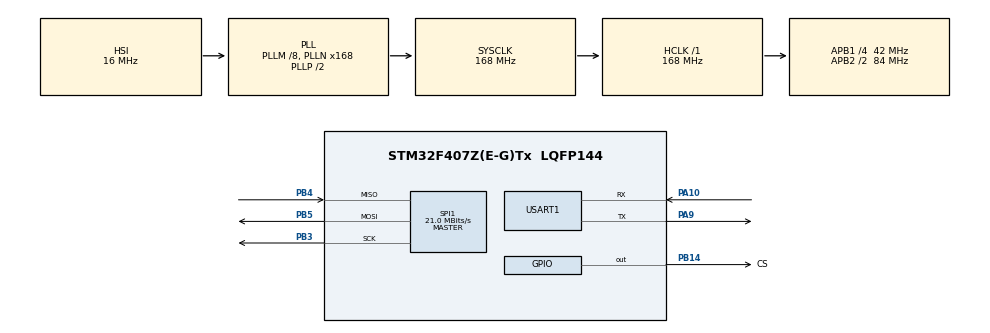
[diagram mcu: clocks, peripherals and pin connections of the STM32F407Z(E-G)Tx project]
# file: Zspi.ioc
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Mcu.Family=STM32F4
Mcu.Name=STM32F407Z(E-G)Tx
Mcu.Package=LQFP144
NVIC.PriorityGroup=NVIC_PRIORITYGROUP_4
PA10.Mode=Asynchronous
PA10.Signal=USART1_RX
PA13.Mode=Serial_Wire
PA13.Signal=SYS_JTMS-SWDIO
PA14.Mode=Serial_Wire
PA14.Signal=SYS_JTCK-SWCLK
PA9.Mode=Asynchronous
PA9.Signal=USART1_TX
PB14.GPIO_Label=CS
PB14.GPIO_PuPd=GPIO_PULLUP
PB14.GPIO_Speed=GPIO_SPEED_FREQ_VERY_HIGH
PB14.PinState=GPIO_PIN_SET
PB14.Signal=GPIO_Output
PB3.Mode=Full_Duplex_Master
PB3.Signal=SPI1_SCK
PB4.Mode=Full_Duplex_Master
PB4.Signal=SPI1_MISO
PB5.Mode=Full_Duplex_Master
PB5.Signal=SPI1_MOSI
ProjectManager.HeapSize=0x200
ProjectManager.StackSize=0x400
ProjectManager.TargetToolchain=MDK-ARM V5.27
RCC.48MHZClocksFreq_Value=84000000
RCC.AHBFreq_Value=168000000
RCC.APB1CLKDivider=RCC_HCLK_DIV4
RCC.APB1Freq_Value=42000000
RCC.APB1TimFreq_Value=84000000
RCC.APB2CLKDivider=RCC_HCLK_DIV2
RCC.APB2Freq_Value=84000000
RCC.APB2TimFreq_Value=168000000
RCC.CortexFreq_Value=168000000
RCC.HCLKFreq_Value=168000000
RCC.HSE_VALUE=25000000
RCC.HSI_VALUE=16000000
RCC.LSE_VALUE=32768
RCC.PLLM=8
RCC.PLLN=168
RCC.SYSCLKFreq_VALUE=168000000
RCC.SYSCLKSource=RCC_SYSCLKSOURCE_PLLCLK
RCC.VCOOutputFreq_Value=336000000
SPI1.BaudRatePrescaler=SPI_BAUDRATEPRESCALER_4
SPI1.CLKPhase=SPI_PHASE_2EDGE
SPI1.CLKPolarity=SPI_POLARITY_HIGH
SPI1.CalculateBaudRate=21.0 MBits/s
SPI1.Direction=SPI_DIRECTION_2LINES
SPI1.Mode=SPI_MODE_MASTER
SPI1.VirtualType=VM_MASTER
USART1.VirtualMode=VM_ASYNC
board=custom

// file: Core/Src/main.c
/* USER CODE BEGIN Header */
/**
  ******************************************************************************
  * @file           : main.c
  * @brief          : Main program body
  ******************************************************************************
  * @attention
  *
  * <h2><center>&copy; Copyright (c) 2021 STMicroelectronics.
  * All rights reserved.</center></h2>
  *
  * This software component is licensed by ST under BSD 3-Clause license,
  * the "License"; You may not use this file except in compliance with the
  * License. You may obtain a copy of the License at:
  *                        opensource.org/licenses/BSD-3-Clause
  *
  ******************************************************************************
  */
/* USER CODE END Header */
#include "main.h"
#include "spi.h"
#include "usart.h"
#include "gpio.h"

/* USER CODE BEGIN PV */
unsigned char data[128] = {0};
/* USER CODE END PV */

void SystemClock_Config(void);

int main(void)
{

  /* MCU Configuration--------------------------------------------------------*/

  /* Reset of all peripherals, Initializes the Flash interface and the Systick. */
  HAL_Init();

  /* Configure the system clock */
  SystemClock_Config();

  /* Initialize all configured peripherals */
  MX_GPIO_Init();
  MX_SPI1_Init();
  MX_USART1_UART_Init();
  /* USER CODE BEGIN 2 */
	data[0] = 0xff;
	HAL_SPI_Transmit(&hspi1,data,1,0xffff);

  /* USER CODE END 2 */

  /* Infinite loop */
  /* USER CODE BEGIN WHILE */

	/*读设备ID*/
	HAL_GPIO_WritePin(CS_GPIO_Port,CS_Pin,GPIO_PIN_RESET);
	data[0] = 0x90;
	data[1] = 0x00;
	data[2] = 0x00;
	data[3] = 0x00;
	HAL_SPI_Transmit(&hspi1,data,4,0xffff);
	HAL_SPI_Receive(&hspi1,data,2,0xffff);
	HAL_GPIO_WritePin(CS_GPIO_Port,CS_Pin,GPIO_PIN_SET);
	HAL_UART_Transmit(&huart1,data,2,0xffff);
	HAL_Delay(1000);

	/*读数据*/
	HAL_GPIO_WritePin(CS_GPIO_Port,CS_Pin,GPIO_PIN_RESET);
	data[0] = 0x03;
	data[1] = 0x00;
	data[2] = 0x00;
	data[3] = 0x00;
	HAL_SPI_Transmit(&hspi1,data,4,0xffff);

	HAL_SPI_Receive(&hspi1,data,10,0xffff);
	HAL_GPIO_WritePin(CS_GPIO_Port,CS_Pin,GPIO_PIN_SET);
	HAL_UART_Transmit(&huart1,data,10,0xffff);
	HAL_Delay(1000);

	/*使能写*/
	HAL_GPIO_WritePin(CS_GPIO_Port,CS_Pin,GPIO_PIN_RESET);
	data[0] = 0x06;
	HAL_SPI_Transmit(&hspi1,data,1,0xffff);

	HAL_GPIO_WritePin(CS_GPIO_Port,CS_Pin,GPIO_PIN_SET);
	HAL_Delay(1000);

	while(1)
	{
		/*读状态寄存器*/
		HAL_GPIO_WritePin(CS_GPIO_Port,CS_Pin,GPIO_PIN_RESET);
		data[0] = 0x05;
		HAL_SPI_Transmit(&hspi1,data,1,0xffff);

		HAL_SPI_Receive(&hspi1,data,1,0xffff);
		HAL_GPIO_WritePin(CS_GPIO_Port,CS_Pin,GPIO_PIN_SET);

		HAL_UART_Transmit(&huart1,"11111\r\n",sizeof("11111\r\n"),0xffff);
		if((data[0]&0x01) != 0x01)
		{
			HAL_UART_Transmit(&huart1,"00000\r\n",sizeof("11111\r\n"),0xffff);
			break;
		}
		HAL_Delay(100);
	}

	/*擦除数据*/
	HAL_GPIO_WritePin(CS_GPIO_Port,CS_Pin,GPIO_PIN_RESET);
	data[0] = 0x20;
	data[1] = 0x00;
	data[2] = 0x00;
	data[3] = 0x00;
	HAL_SPI_Transmit(&hspi1,data,4,0xffff);

	HAL_GPIO_WritePin(CS_GPIO_Port,CS_Pin,GPIO_PIN_SET);
	HAL_Delay(1000);

	/*使能写*/
	HAL_GPIO_WritePin(CS_GPIO_Port,CS_Pin,GPIO_PIN_RESET);
	data[0] = 0x06;
	HAL_SPI_Transmit(&hspi1,data,1,0xffff);

	HAL_GPIO_WritePin(CS_GPIO_Port,CS_Pin,GPIO_PIN_SET);
	HAL_Delay(1000);

	/*写入数据*/
	HAL_GPIO_WritePin(CS_GPIO_Port,CS_Pin,GPIO_PIN_RESET);
	data[0] = 0x02;
	data[1] = 0x00;
	data[2] = 0x00;
	data[3] = 0x00;
	HAL_SPI_Transmit(&hspi1,data,4,0xffff);

	data[0] = 0x12;
	data[1] = 0x34;
	data[2] = 0x56;
	data[3] = 0x78;
	data[4] = 0x9a;
	HAL_SPI_Transmit(&hspi1,data,5,0xffff);

	HAL_GPIO_WritePin(CS_GPIO_Port,CS_Pin,GPIO_PIN_SET);
	HAL_Delay(1000);

	/*读数据*/
	HAL_GPIO_WritePin(CS_GPIO_Port,CS_Pin,GPIO_PIN_RESET);
	data[0] = 0x03;
	data[1] = 0x00;
	data[2] = 0x00;
	data[3] = 0x00;
	HAL_SPI_Transmit(&hspi1,data,4,0xffff);

	HAL_SPI_Receive(&hspi1,data,10,0xffff);
	HAL_GPIO_WritePin(CS_GPIO_Port,CS_Pin,GPIO_PIN_SET);
	HAL_UART_Transmit(&huart1,data,10,0xffff);
	HAL_Delay(1000);

  while (1)
  {

    /* USER CODE END WHILE */

  }
}

void SystemClock_Config(void)
{
  RCC_OscInitTypeDef RCC_OscInitStruct = {0};
  RCC_ClkInitTypeDef RCC_ClkInitStruct = {0};

  /** Configure the main internal regulator output voltage
  */
  __HAL_RCC_PWR_CLK_ENABLE();
  __HAL_PWR_VOLTAGESCALING_CONFIG(PWR_REGULATOR_VOLTAGE_SCALE1);
  /** Initializes the RCC Oscillators according to the specified parameters
  * in the RCC_OscInitTypeDef structure.
  */
  RCC_OscInitStruct.OscillatorType = RCC_OSCILLATORTYPE_HSI;
  RCC_OscInitStruct.HSIState = RCC_HSI_ON;
  RCC_OscInitStruct.HSICalibrationValue = RCC_HSICALIBRATION_DEFAULT;
  RCC_OscInitStruct.PLL.PLLState = RCC_PLL_ON;
  RCC_OscInitStruct.PLL.PLLSource = RCC_PLLSOURCE_HSI;
  RCC_OscInitStruct.PLL.PLLM = 8;
  RCC_OscInitStruct.PLL.PLLN = 168;
  RCC_OscInitStruct.PLL.PLLP = RCC_PLLP_DIV2;
  RCC_OscInitStruct.PLL.PLLQ = 4;
  if (HAL_RCC_OscConfig(&RCC_OscInitStruct) != HAL_OK)
  {
    Error_Handler();
  }
  /** Initializes the CPU, AHB and APB buses clocks
  */
  RCC_ClkInitStruct.ClockType = RCC_CLOCKTYPE_HCLK|RCC_CLOCKTYPE_SYSCLK
                              |RCC_CLOCKTYPE_PCLK1|RCC_CLOCKTYPE_PCLK2;
  RCC_ClkInitStruct.SYSCLKSource = RCC_SYSCLKSOURCE_PLLCLK;
  RCC_ClkInitStruct.AHBCLKDivider = RCC_SYSCLK_DIV1;
  RCC_ClkInitStruct.APB1CLKDivider = RCC_HCLK_DIV4;
  RCC_ClkInitStruct.APB2CLKDivider = RCC_HCLK_DIV2;

  if (HAL_RCC_ClockConfig(&RCC_ClkInitStruct, FLASH_LATENCY_5) != HAL_OK)
  {
    Error_Handler();
  }
}

void Error_Handler(void)
{
  __disable_irq();
  while (1)
  {
  }
}

/************************ (C) COPYRIGHT STMicroelectronics *****END OF FILE****/
